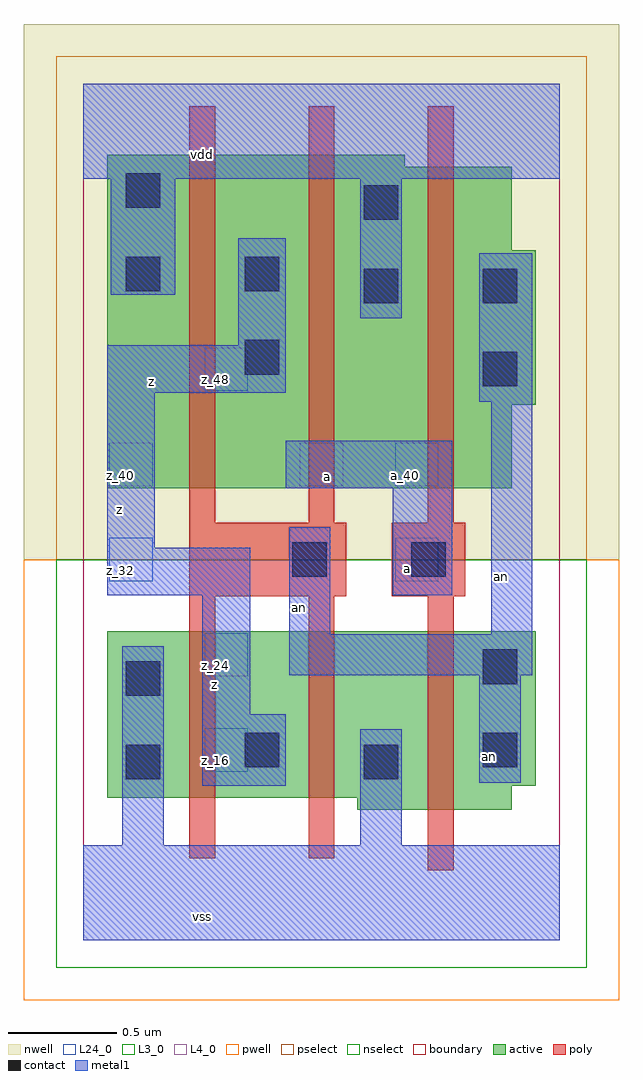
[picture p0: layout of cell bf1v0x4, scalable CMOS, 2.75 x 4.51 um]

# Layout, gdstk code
import gdstk
lib = gdstk.Library(unit=1e-6, precision=2.5e-09)
def R(c, l, rs):  # rectangles x0, y0, x1, y1
    for r in rs: c.add(gdstk.rectangle(r[:2], r[2:], *l))
def A(c, l, x, y, w, h, nx, ny, dx, dy):  # array of equal rectangles
    R(c, l, [(x+i*dx, y+j*dy, x+i*dx+w, y+j*dy+h) for i in range(nx) for j in range(ny)])
L3_0 = (3, 0)
L4_0 = (4, 0)
L24_0 = (24, 0)
contact = (25, 0)
pwell = (41, 0)
nwell = (42, 0)
active = (43, 0)
pselect = (44, 0)
nselect = (45, 0)
poly = (46, 0)
metal1 = (49, 0)
boundary = (63, 0)

bf1v0x4 = lib.new_cell('bf1v0x4')
R(bf1v0x4, L3_0, [(1.265,0.605,1.98,0.66), (0.11,0.66,1.98,0.715), (0.11,0.715,2.09,1.43)])
R(bf1v0x4, L4_0, [(0.11,2.09,1.98,2.475), (0.11,2.475,2.09,3.19), (0.11,3.19,1.98,3.575), (0.11,3.575,1.485,3.63)])
R(bf1v0x4, L24_0, [(0.56,0.78,0.76,0.98), (0.56,1.22,0.76,1.42), (0.12,1.66,0.32,1.86), (1.44,1.66,1.64,1.86), (0.12,2.1,0.32,2.3), (1,2.1,1.2,2.3), (1.44,2.1,1.64,2.3), (0.56,2.54,0.76,2.74)])
R(bf1v0x4, contact, [(0.195,0.745,0.355,0.905), (1.295,0.745,1.455,0.905), (0.745,0.8,0.905,0.96), (1.845,0.8,2.005,0.96), (0.195,1.13,0.355,1.29), (1.845,1.185,2.005,1.345), (0.965,1.68,1.125,1.84), (1.515,1.68,1.675,1.84), (1.845,2.56,2.005,2.72), (0.745,2.615,0.905,2.775), (1.295,2.945,1.455,3.105), (1.845,2.945,2.005,3.105), (0.195,3,0.355,3.16), (0.745,3,0.905,3.16), (1.295,3.33,1.455,3.49), (0.195,3.385,0.355,3.545)])
R(bf1v0x4, pwell, [(-0.275,-0.275,2.475,1.76)])
R(bf1v0x4, nwell, [(-0.275,1.76,2.475,4.235)])
R(bf1v0x4, active, [(1.265,0.605,1.98,0.66), (0.11,0.66,1.98,0.715), (0.11,0.715,2.09,1.43), (0.11,2.09,1.98,2.475), (0.11,2.475,2.09,3.19), (0.11,3.19,1.98,3.575), (0.11,3.575,1.485,3.63)])
R(bf1v0x4, pselect, [(-0.125,1.76,2.325,4.085)])
R(bf1v0x4, nselect, [(-0.125,-0.125,2.325,1.76)])
A(bf1v0x4, poly, 0.49, 1.93, 0.12, 1.925, 3, 1, 0.55, 0)
R(bf1v0x4, poly, [(1.59,0.325,1.71,1.59), (0.49,0.38,0.61,1.59), (1.04,0.38,1.16,1.59), (0.49,1.59,1.215,1.93), (1.425,1.59,1.765,1.93)])
R(bf1v0x4, metal1, [(0,0,2.2,0.44), (0.18,0.44,0.37,1.36), (1.28,0.44,1.47,0.975), (0.55,0.715,0.935,1.045), (1.83,0.73,2.02,1.225), (0.55,1.045,0.77,1.595), (0.95,1.225,2.075,1.415), (0.95,1.415,1.14,1.91), (1.885,1.415,2.075,2.49), (0.11,1.595,0.77,1.815), (1.43,1.595,1.705,2.09), (0.11,1.815,0.33,2.53), (0.935,2.09,1.705,2.31), (1.83,2.49,2.075,3.175), (0.11,2.53,0.935,2.75), (0.715,2.75,0.935,3.245), (1.28,2.875,1.47,3.52), (0.125,2.985,0.425,3.52), (0,3.52,2.2,3.96)])
R(bf1v0x4, boundary, [(0,0,2.2,3.96)])
bf1v0x4.add(gdstk.Label('vss', (0.55,0.11), layer=49, texttype=0))
bf1v0x4.add(gdstk.Label('an', (1.8775,0.8525), layer=49, texttype=0))
bf1v0x4.add(gdstk.Label('an', (1.9325,1.6825), layer=49, texttype=0))
bf1v0x4.add(gdstk.Label('a', (1.4975,1.7175), layer=49, texttype=0))
bf1v0x4.add(gdstk.Label('an', (0.9975,1.5375), layer=49, texttype=0))
bf1v0x4.add(gdstk.Label('z', (0.605,1.1825), layer=49, texttype=0))
bf1v0x4.add(gdstk.Label('a', (1.1275,2.145), layer=49, texttype=0))
bf1v0x4.add(gdstk.Label('z', (0.165,1.9925), layer=49, texttype=0))
bf1v0x4.add(gdstk.Label('z', (0.315,2.585), layer=49, texttype=0))
bf1v0x4.add(gdstk.Label('vdd', (0.55,3.63), layer=49, texttype=0))
bf1v0x4.add(gdstk.Label('z_16', (0.61,0.83), layer=24, texttype=0))
bf1v0x4.add(gdstk.Label('z_48', (0.61,2.59), layer=24, texttype=0))
bf1v0x4.add(gdstk.Label('a_40', (1.05,2.15), layer=24, texttype=0))
bf1v0x4.add(gdstk.Label('a_32', (1.49,1.71), layer=24, texttype=0))
bf1v0x4.add(gdstk.Label('z_32', (0.17,1.71), layer=24, texttype=0))
bf1v0x4.add(gdstk.Label('z_40', (0.17,2.15), layer=24, texttype=0))
bf1v0x4.add(gdstk.Label('z_24', (0.61,1.27), layer=24, texttype=0))
bf1v0x4.add(gdstk.Label('a_40', (1.49,2.15), layer=24, texttype=0))

lib.write_gds('bf1v0x4.gds')
